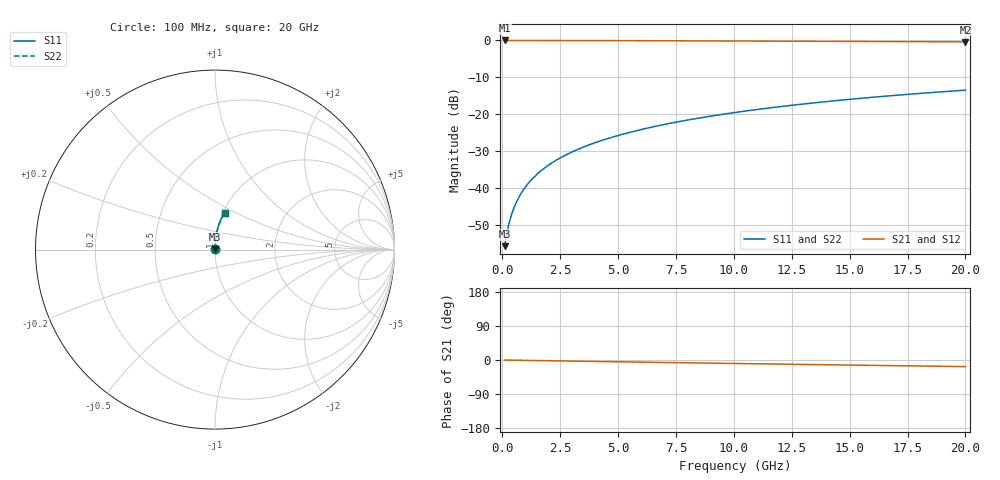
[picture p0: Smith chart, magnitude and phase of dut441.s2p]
! Touchstone file exported from HFSS 2024.1.0
!  File:  C:/UserFiles/LocalFiles/RDL_TSV_Batchsim/temp_RDL_top_441_1779676775.aedt
!  Generated:  10:42:03 AM May 25, 2026
!  Design:  RDL_top
!  Project:  temp_RDL_top_441_1779676775
!  Setup:  Setup1
!  Solution:  Sweep
! Variables:
!  dtsv = 10.80580581um
!  hbump = 3um
!  htsv = 84.63um
!  ldown = 100um
!  lrdl = 199.56um
!  p = 40
!  p1 = 49.24um
!  rhole = 1um
!  t = 450um
!  tdown = 3.915915916um
!  trdl = 4.06um
!  wdown = 15.38538539um
!  wrdl = 16.17um
# GHz S MA R 50.000000
! Terminal data exported
! Port[1] = Box2_T1
! Port[2] = Box2_T2
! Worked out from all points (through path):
!   200 points, 100 MHz to 20 GHz, reference 50 ohm
!   highest |S21| = -0.01 dB at 100 MHz (marker M1); lowest = -0.4 dB at 20 GHz (marker M2)
!   group delay of S21, straight-line fit = 2.41 ps
!   lowest |S11| = -55.7 dB at 100 MHz (marker M3), VSWR 1.00, Z = 50.1 + j0.108 ohm
!   |S11| at or under -10 dB: start of sweep to end of sweep
!   |S22| runs from -55.7 to -13.5 dB; largest |S21 - S12| = 9.1e-15
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0.1  0.001634 41.0  0.9988 -0.1  0.9988 -0.1  0.001634 41.0
! Gamma 0 0 0 0
! Port Impedance 50 0 50 0
0.2  0.002477 59.2  0.9987 -0.2  0.9987 -0.2  0.002477 59.2
0.3  0.003421 67.5  0.9987 -0.3  0.9987 -0.3  0.003421 67.5
0.4  0.004392 72.2  0.9986 -0.4  0.9986 -0.4  0.004392 72.2
0.5  0.005374 75.2  0.9986 -0.5  0.9986 -0.5  0.005374 75.2
0.6  0.006362 77.3  0.9985 -0.6  0.9985 -0.6  0.006362 77.3
0.8  0.008354 80.1  0.9984 -0.8  0.9984 -0.8  0.008354 80.0
1.1  0.01137 82.4  0.9983 -1.1  0.9983 -1.1  0.01137 82.4
1.5  0.01542 84.1  0.998 -1.5  0.998 -1.5  0.01542 84.1
1.8  0.01847 84.8  0.9978 -1.7  0.9978 -1.7  0.01847 84.8
2.1  0.02153 85.3  0.9975 -2.0  0.9975 -2.0  0.02153 85.3
2.7  0.02767 85.9  0.9968 -2.6  0.9968 -2.6  0.02767 85.9
3.5  0.03592 86.2  0.9958 -3.4  0.9958 -3.4  0.03592 86.2
4.2  0.04319 86.3  0.9946 -4.0  0.9946 -4.0  0.04319 86.3
5  0.05155 86.1  0.9932 -4.8  0.9932 -4.8  0.05155 86.1
5.9  0.06105 85.9  0.9914 -5.6  0.9914 -5.6  0.06105 85.9
6.8  0.07063 85.5  0.9896 -6.4  0.9896 -6.4  0.07063 85.5
8.3  0.08674 84.7  0.9862 -7.7  0.9862 -7.7  0.08673 84.7
10.1  0.1062 83.5  0.982 -9.3  0.982 -9.3  0.1062 83.5
13.4  0.142 81.0  0.9739 -12.1  0.9739 -12.1  0.142 80.9
16.7  0.1774 78.2  0.9653 -14.8  0.9653 -14.8  0.1774 78.2
20  0.212 75.4  0.9562 -17.5  0.9562 -17.5  0.212 75.4
